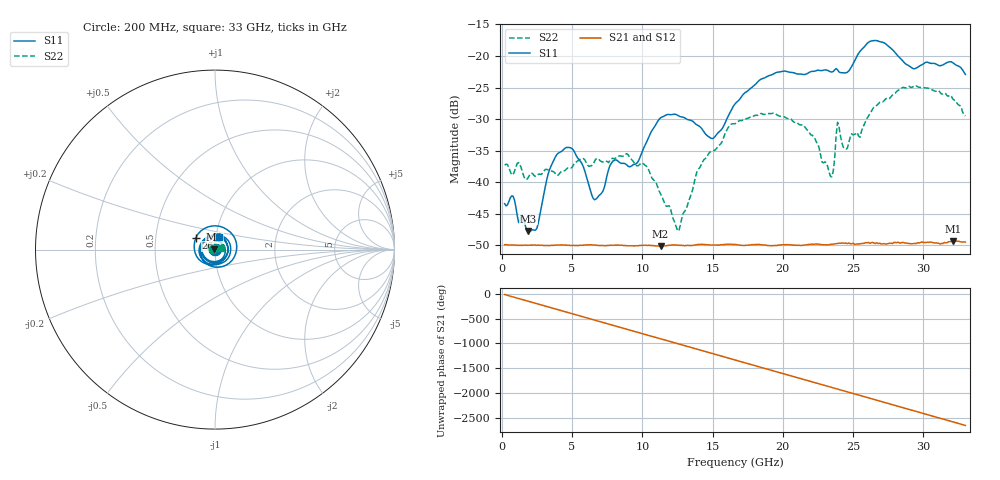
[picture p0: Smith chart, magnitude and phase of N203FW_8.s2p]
# GHZ S RI R 50
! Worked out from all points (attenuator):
!   329 points, 200 MHz to 33 GHz, reference 50 ohm
!   highest |S21| = -49.38 dB at 32.1 GHz (marker M1); lowest = -50.2 dB at 11.3 GHz (marker M2)
!   lowest |S11| = -47.8 dB at 1.9 GHz (marker M3), VSWR 1.01, Z = 49.7 + j0.243 ohm
!   |S11| at or under -10 dB: start of sweep to end of sweep
!   |S22| runs from -47.8 to -24.7 dB; largest |S21 - S12| = 8.8e-05
!   S11 on the Smith chart (normalised r, x): 200 MHz: 1.01, -0.00; 26 GHz: 0.80, +0.11; 33 GHz: 1.03, +0.14
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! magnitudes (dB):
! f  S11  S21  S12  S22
! 200 MHz  -43.4  -50.0  -49.9  -37.3
! 800 MHz  -42.2  -50.0  -50.0  -38.8
! 1.9 GHz  -47.8  -50.0  -50.0  -39.2
! 2.5 GHz  -47.3  -50.0  -50.0  -39.0
! 3.9 GHz  -35.7  -50.0  -50.0  -38.9
! 5.7 GHz  -37.1  -50.0  -50.0  -36.3
! 6.7 GHz  -42.7  -50.0  -50.0  -36.3
! 7.9 GHz  -36.7  -50.0  -50.0  -36.2
! 8.9 GHz  -37.3  -50.1  -50.1  -35.5
! 11.2 GHz  -30.0  -50.2  -50.2  -41.4
! 11.3 GHz  -29.8  -50.2  -50.2  -41.9
! 12.6 GHz  -29.5  -50.0  -50.0  -47.8
! 15 GHz  -33.1  -50.0  -50.0  -35.1
! 16.6 GHz  -27.6  -49.9  -49.9  -30.7
! 22.1 GHz  -22.4  -49.9  -49.8  -32.6
! 23.5 GHz  -22.5  -49.9  -49.8  -39.2
! 23.9 GHz  -22.2  -49.8  -49.8  -30.5
! 24.5 GHz  -22.7  -49.7  -49.7  -34.8
! 26 GHz  -18.0  -49.7  -49.6  -29.9
! 27.6 GHz  -18.6  -49.7  -49.7  -26.7
! 32.1 GHz  -21.1  -49.4  -49.3  -26.8
! 33 GHz  -22.9  -49.5  -49.6  -29.5
